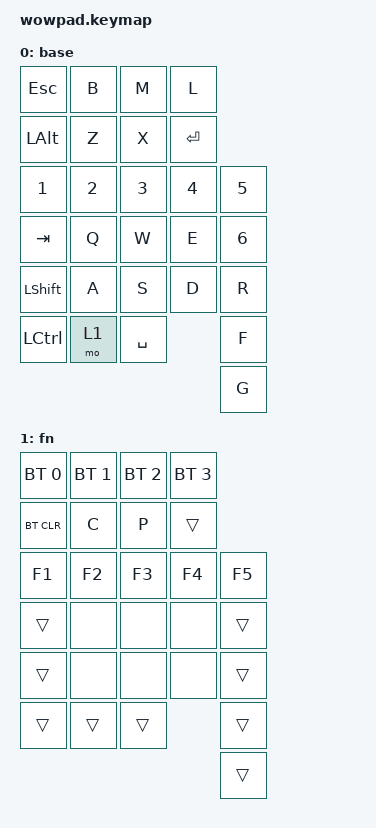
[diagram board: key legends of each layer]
#include <behaviors.dtsi>
#include <dt-bindings/zmk/keys.h>
#include <dt-bindings/zmk/bt.h>
#include <dt-bindings/zmk/rgb.h>

/ {
    keymap {
        compatible = "zmk,keymap";

        base {
            bindings = <
                &kp ESC   &kp B  &kp M     &kp L
                &kp LALT  &kp Z  &kp X     &kp ENTER
                &kp N1    &kp N2 &kp N3    &kp N4  &kp N5
                &kp TAB   &kp Q  &kp W     &kp E   &kp N6
                &kp LSHFT &kp A  &kp S     &kp D   &kp R
                &kp LCTRL &mo 1  &kp SPACE         &kp F
                                                   &kp G
            >;
        };

        fn {
            bindings = <
                &bt BT_SEL 0 &bt BT_SEL 1  &bt BT_SEL 2  &bt BT_SEL 3
                &bt BT_CLR     &kp C  &kp P   &trans
                &kp F1     &kp F2 &kp F3  &kp F4  &kp F5
                &trans &none &none &none &trans
                &trans &none &none &none &trans
                &trans     &trans &trans          &trans
                                                  &trans
            >;
        };
    };
};
